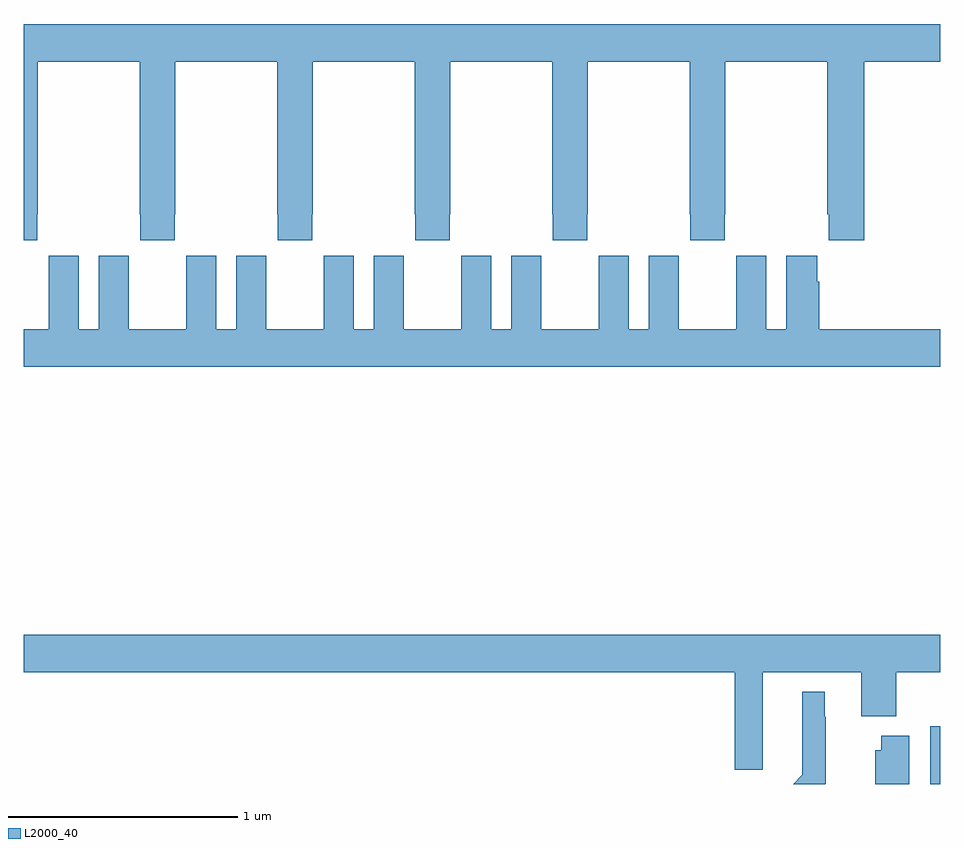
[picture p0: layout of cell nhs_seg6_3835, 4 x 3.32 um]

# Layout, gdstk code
import gdstk
lib = gdstk.Library(unit=1e-6, precision=1e-09)
def R(c, l, rs):  # rectangles x0, y0, x1, y1
    for r in rs: c.add(gdstk.rectangle(r[:2], r[2:], *l))
def P(c, l, *ps):  # polygons
    for p in ps: c.add(gdstk.Polygon(p, *l))
L2000_40 = (2000, 40)

nhs_seg6_3835 = lib.new_cell('nhs_seg6_3835')
R(nhs_seg6_3835, L2000_40, [(340.955,961.5,341,961.753)])
P(nhs_seg6_3835, L2000_40, [(337,963.873),(337.059,963.873),(337.059,963.985),(337.062,963.985),(337.062,964.652),(337.507,964.652),(337.507,963.985),(337.509,963.985),(337.509,963.873),(337.659,963.873),(337.659,963.985),(337.662,963.985),(337.662,964.652),(338.107,964.652),(338.107,963.985),(338.109,963.985),(338.109,963.873),(338.259,963.873),(338.259,963.985),(338.262,963.985),(338.262,964.652),(338.707,964.652),(338.707,963.985),(338.709,963.985),(338.709,963.873),(338.859,963.873),(338.859,963.985),(338.862,963.985),(338.862,964.652),(339.307,964.652),(339.307,963.985),(339.309,963.985),(339.309,963.873),(339.459,963.873),(339.459,963.985),(339.462,963.985),(339.462,964.652),(339.907,964.652),(339.907,963.985),(339.909,963.985),(339.909,963.873),(340.059,963.873),(340.059,963.985),(340.062,963.985),(340.062,964.652),(340.507,964.652),(340.507,963.985),(340.513,963.985),(340.513,963.873),(340.667,963.873),(340.667,964.652),(341,964.652),(341,964.816),(337,964.816)],
  [(337.928,963.805),(337.928,963.484),(337.84,963.484),(337.84,963.805),(337.71,963.805),(337.71,963.692),(337.709,963.692),(337.709,963.484),(337.459,963.484),(337.459,963.692),(337.458,963.692),(337.458,963.805),(337.328,963.805),(337.328,963.484),(337.24,963.484),(337.24,963.805),(337.11,963.805),(337.11,963.692),(337.109,963.692),(337.109,963.484),(337,963.484),(337,963.32),(341,963.32),(341,963.484),(340.472,963.484),(340.472,963.692),(340.462,963.692),(340.462,963.805),(340.328,963.805),(340.328,963.484),(340.24,963.484),(340.24,963.805),(340.11,963.805),(340.11,963.692),(340.109,963.692),(340.109,963.484),(339.859,963.484),(339.859,963.692),(339.858,963.692),(339.858,963.805),(339.728,963.805),(339.728,963.484),(339.64,963.484),(339.64,963.805),(339.51,963.805),(339.51,963.692),(339.509,963.692),(339.509,963.484),(339.259,963.484),(339.259,963.692),(339.258,963.692),(339.258,963.805),(339.128,963.805),(339.128,963.484),(339.04,963.484),(339.04,963.805),(338.91,963.805),(338.91,963.692),(338.909,963.692),(338.909,963.484),(338.659,963.484),(338.659,963.692),(338.658,963.692),(338.658,963.805),(338.528,963.805),(338.528,963.484),(338.44,963.484),(338.44,963.805),(338.31,963.805),(338.31,963.692),(338.309,963.692),(338.309,963.484),(338.059,963.484),(338.059,963.692),(338.058,963.692),(338.058,963.805)],
  [(340.225,961.988),(340.655,961.988),(340.655,961.796),(340.808,961.796),(340.808,961.988),(341,961.988),(341,962.152),(337,962.152),(337,961.988),(340.103,961.988),(340.103,961.563),(340.225,961.563)],
  [(340.499,961.502),(340.499,961.793),(340.495,961.793),(340.495,961.903),(340.397,961.903),(340.397,961.642),(340.398,961.642),(340.398,961.54),(340.358,961.5),(340.497,961.5)],
  [(340.864,961.711),(340.742,961.711),(340.742,961.647),(340.715,961.647),(340.715,961.5),(340.864,961.5)])

lib.write_gds('nhs_seg6_3835.gds')
